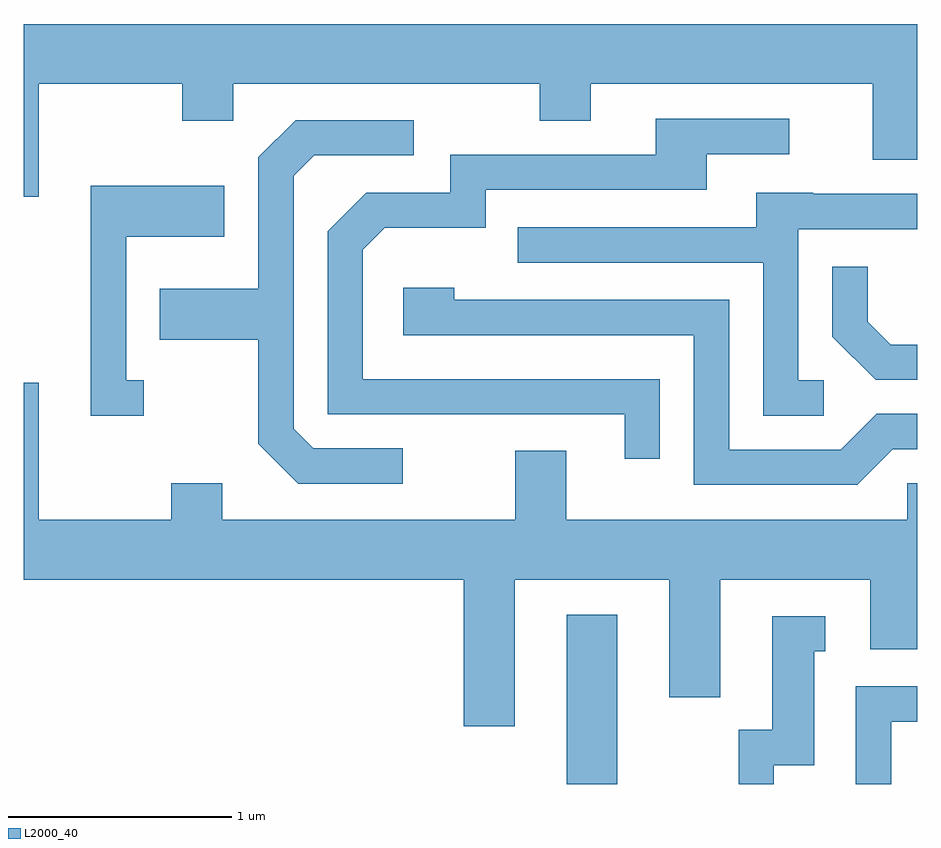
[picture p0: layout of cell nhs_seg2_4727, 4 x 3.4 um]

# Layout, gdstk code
import gdstk
lib = gdstk.Library(unit=1e-6, precision=1e-09)
def R(c, l, rs):  # rectangles x0, y0, x1, y1
    for r in rs: c.add(gdstk.rectangle(r[:2], r[2:], *l))
def P(c, l, *ps):  # polygons
    for p in ps: c.add(gdstk.Polygon(p, *l))
L2000_40 = (2000, 40)

nhs_seg2_4727 = lib.new_cell('nhs_seg2_4727')
R(nhs_seg2_4727, L2000_40, [(326.041,1091.802,326.269,1092.559)])
P(nhs_seg2_4727, L2000_40, [(323.679,1094.936),(324.321,1094.936),(324.321,1094.771),(324.549,1094.771),(324.549,1094.936),(325.921,1094.936),(325.921,1094.771),(326.149,1094.771),(326.149,1094.936),(327.411,1094.936),(327.411,1094.596),(327.611,1094.596),(327.611,1095.204),(323.611,1095.204),(323.611,1094.431),(323.679,1094.431)],
  [(326.459,1093.614),(325.129,1093.614),(325.129,1094.194),(325.227,1094.291),(325.679,1094.291),(325.679,1094.461),(326.669,1094.461),(326.669,1094.621),(327.038,1094.621),(327.038,1094.779),(326.441,1094.779),(326.441,1094.619),(325.521,1094.619),(325.521,1094.449),(325.144,1094.449),(324.971,1094.277),(324.971,1093.456),(326.301,1093.456),(326.301,1093.258),(326.459,1093.258)],
  [(325.308,1093.304),(324.907,1093.304),(324.819,1093.392),(324.819,1094.524),(324.912,1094.616),(325.358,1094.616),(325.358,1094.774),(324.829,1094.774),(324.661,1094.607),(324.661,1094.019),(324.221,1094.019),(324.221,1093.791),(324.661,1093.791),(324.661,1093.324),(324.839,1093.146),(325.308,1093.146)],
  [(324.148,1093.609),(324.069,1093.609),(324.069,1094.251),(324.509,1094.251),(324.509,1094.479),(323.911,1094.479),(323.911,1093.451),(324.148,1093.451)],
  [(327.193,1093.609),(327.079,1093.609),(327.079,1094.286),(327.611,1094.286),(327.611,1094.444),(327.145,1094.444),(327.145,1094.449),(326.891,1094.449),(326.891,1094.294),(325.823,1094.294),(325.823,1094.136),(326.921,1094.136),(326.921,1093.451),(327.193,1093.451)],
  [(327.611,1093.769),(327.492,1093.769),(327.389,1093.872),(327.389,1094.118),(327.231,1094.118),(327.231,1093.804),(327.424,1093.611),(327.611,1093.611)],
  [(327.502,1093.301),(327.611,1093.301),(327.611,1093.459),(327.429,1093.459),(327.269,1093.299),(326.769,1093.299),(326.769,1093.969),(325.539,1093.969),(325.539,1094.024),(325.311,1094.024),(325.311,1093.811),(326.611,1093.811),(326.611,1093.141),(327.342,1093.141)],
  [(325.809,1092.716),(326.501,1092.716),(326.501,1092.191),(326.729,1092.191),(326.729,1092.716),(327.401,1092.716),(327.401,1092.406),(327.611,1092.406),(327.611,1093.149),(327.566,1093.149),(327.566,1092.984),(326.039,1092.984),(326.039,1093.294),(325.811,1093.294),(325.811,1092.984),(324.499,1092.984),(324.499,1093.149),(324.271,1093.149),(324.271,1092.984),(323.679,1092.984),(323.679,1093.599),(323.611,1093.599),(323.611,1092.716),(325.581,1092.716),(325.581,1092.061),(325.809,1092.061)],
  [(326.969,1091.886),(327.149,1091.886),(327.149,1092.396),(327.198,1092.396),(327.198,1092.554),(326.961,1092.554),(326.961,1092.044),(326.811,1092.044),(326.811,1091.802),(326.969,1091.802)],
  [(327.494,1092.081),(327.611,1092.081),(327.611,1092.239),(327.336,1092.239),(327.336,1091.802),(327.494,1091.802)])

lib.write_gds('nhs_seg2_4727.gds')
